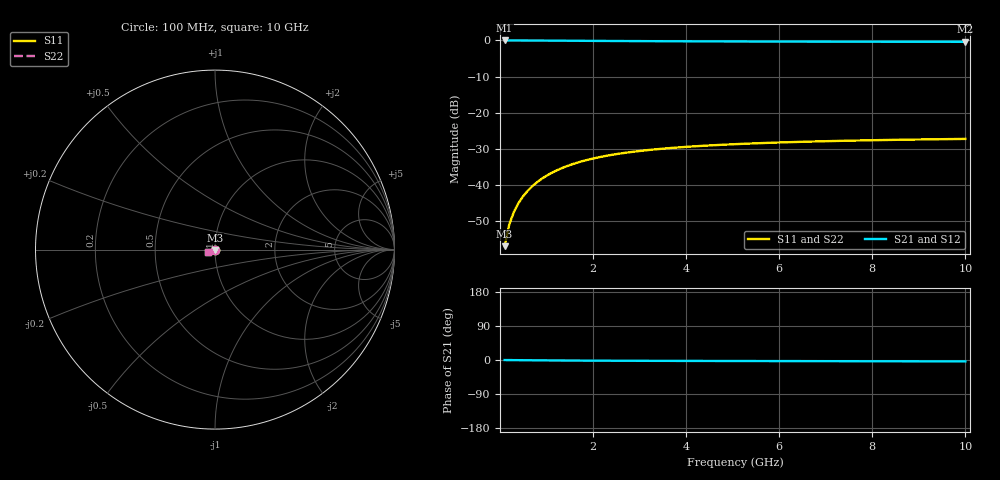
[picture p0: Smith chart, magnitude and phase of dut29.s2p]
! Touchstone file exported from HFSS 2024.1.0
!  File:  C:/UserFiles/LocalFiles/RDL_TSV_Batchsim/temp_TSV1_29_1778763990.aedt
!  Generated:  09:10:38 PM May 14, 2026
!  Design:  TSV1
!  Project:  temp_TSV1_29_1778763990
!  Setup:  Setup1
!  Solution:  Sweep
! Variables:
!  dtsv = 17.53um
!  hbump = 3um
!  htsv = 50.96um
!  lrdl = 252.1521522um
!  p = 40
!  p1 = 57.37um
!  t = 500um
!  trdl = 3um
!  wrdl = 24.89489489um
# GHz S MA R 50.000000
! Terminal data exported
! Port[1] = TSV22_T1
! Port[2] = TSV22_T2
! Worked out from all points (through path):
!   100 points, 100 MHz to 10 GHz, reference 50 ohm
!   highest |S21| = 0.00 dB at 100 MHz (marker M1); lowest = -0.4 dB at 10 GHz (marker M2)
!   lowest |S11| = -56.9 dB at 100 MHz (marker M3), VSWR 1.00, Z = 50 - j0.143 ohm
!   |S11| at or under -10 dB: start of sweep to end of sweep
!   |S22| runs from -56.9 to -27.2 dB; largest |S21 - S12| = 5e-15
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0.1  0.001434 -89.6  0.9999 -0.1  0.9999 -0.1  0.001434 -89.6
! Gamma 0 0 0 0
! Port Impedance 50 0 50 0
0.2  0.002861 -92.9  0.9997 -0.2  0.9997 -0.2  0.002861 -92.9
0.3  0.004277 -95.3  0.9995 -0.3  0.9995 -0.3  0.004277 -95.3
0.4  0.005677 -97.5  0.9991 -0.5  0.9991 -0.5  0.005677 -97.5
0.5  0.007056 -99.6  0.9986 -0.6  0.9986 -0.6  0.007056 -99.6
0.6  0.008409 -101.6  0.9981 -0.7  0.9981 -0.7  0.008409 -101.6
0.7  0.009733 -103.6  0.9975 -0.8  0.9975 -0.8  0.009733 -103.6
0.8  0.01102 -105.5  0.9968 -0.9  0.9968 -0.9  0.01102 -105.5
0.9  0.01228 -107.3  0.9961 -1.0  0.9961 -1.0  0.01228 -107.3
1.1  0.01466 -110.9  0.9945 -1.1  0.9945 -1.1  0.01466 -110.9
1.4  0.01793 -115.8  0.9919 -1.4  0.9919 -1.4  0.01793 -115.8
1.6  0.0199 -118.8  0.9901 -1.5  0.9901 -1.5  0.0199 -118.8
1.8  0.0217 -121.6  0.9884 -1.6  0.9884 -1.6  0.0217 -121.6
2.1  0.02411 -125.4  0.9858 -1.8  0.9858 -1.8  0.02411 -125.4
2.5  0.02685 -129.9  0.9826 -1.9  0.9826 -1.9  0.02685 -129.9
2.9  0.02914 -133.8  0.9797 -2.1  0.9797 -2.1  0.02914 -133.8
3.4  0.03152 -137.9  0.9765 -2.2  0.9765 -2.2  0.03152 -137.9
4.2  0.03448 -143.2  0.9723 -2.5  0.9723 -2.5  0.03448 -143.2
5.1  0.03697 -148.0  0.9685 -2.7  0.9685 -2.7  0.03697 -148.0
6.7  0.04006 -154.4  0.9636 -3.0  0.9636 -3.0  0.04006 -154.4
8.4  0.0422 -159.5  0.9601 -3.4  0.9601 -3.4  0.0422 -159.5
10  0.04356 -163.3  0.9578 -3.7  0.9578 -3.7  0.04356 -163.3
